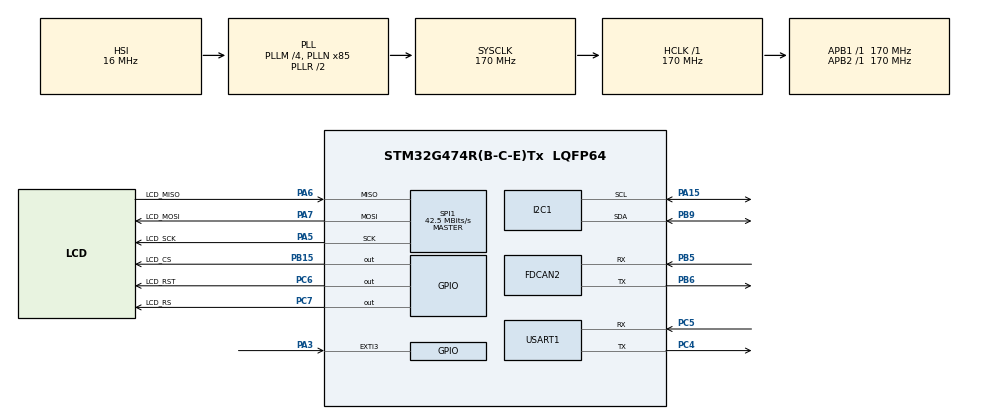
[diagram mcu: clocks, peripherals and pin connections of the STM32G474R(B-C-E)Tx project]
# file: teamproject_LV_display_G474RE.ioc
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Dma.Request0=USART1_RX
Dma.Request1=USART1_TX
Dma.Request2=SPI1_TX
Dma.SPI1_TX.2.Direction=DMA_MEMORY_TO_PERIPH
Dma.SPI1_TX.2.EventEnable=DISABLE
Dma.SPI1_TX.2.Instance=DMA1_Channel3
Dma.SPI1_TX.2.MemDataAlignment=DMA_MDATAALIGN_BYTE
Dma.SPI1_TX.2.MemInc=DMA_MINC_ENABLE
Dma.SPI1_TX.2.Mode=DMA_NORMAL
Dma.SPI1_TX.2.PeriphDataAlignment=DMA_PDATAALIGN_BYTE
Dma.SPI1_TX.2.PeriphInc=DMA_PINC_DISABLE
Dma.SPI1_TX.2.Polarity=HAL_DMAMUX_REQ_GEN_RISING
Dma.SPI1_TX.2.Priority=DMA_PRIORITY_HIGH
Dma.SPI1_TX.2.RequestNumber=1
Dma.SPI1_TX.2.SignalID=NONE
Dma.SPI1_TX.2.SyncEnable=DISABLE
Dma.SPI1_TX.2.SyncPolarity=HAL_DMAMUX_SYNC_NO_EVENT
Dma.SPI1_TX.2.SyncRequestNumber=1
Dma.SPI1_TX.2.SyncSignalID=NONE
Dma.USART1_RX.0.Direction=DMA_PERIPH_TO_MEMORY
Dma.USART1_RX.0.EventEnable=DISABLE
Dma.USART1_RX.0.Instance=DMA1_Channel1
Dma.USART1_RX.0.MemDataAlignment=DMA_MDATAALIGN_BYTE
Dma.USART1_RX.0.MemInc=DMA_MINC_ENABLE
Dma.USART1_RX.0.Mode=DMA_CIRCULAR
Dma.USART1_RX.0.PeriphDataAlignment=DMA_PDATAALIGN_BYTE
Dma.USART1_RX.0.PeriphInc=DMA_PINC_DISABLE
Dma.USART1_RX.0.Polarity=HAL_DMAMUX_REQ_GEN_RISING
Dma.USART1_RX.0.Priority=DMA_PRIORITY_VERY_HIGH
Dma.USART1_RX.0.RequestNumber=1
Dma.USART1_RX.0.SignalID=NONE
Dma.USART1_RX.0.SyncEnable=DISABLE
Dma.USART1_RX.0.SyncPolarity=HAL_DMAMUX_SYNC_NO_EVENT
Dma.USART1_RX.0.SyncRequestNumber=1
Dma.USART1_RX.0.SyncSignalID=NONE
Dma.USART1_TX.1.Direction=DMA_MEMORY_TO_PERIPH
Dma.USART1_TX.1.EventEnable=DISABLE
Dma.USART1_TX.1.Instance=DMA1_Channel2
Dma.USART1_TX.1.MemDataAlignment=DMA_MDATAALIGN_BYTE
Dma.USART1_TX.1.MemInc=DMA_MINC_ENABLE
Dma.USART1_TX.1.Mode=DMA_NORMAL
Dma.USART1_TX.1.PeriphDataAlignment=DMA_PDATAALIGN_BYTE
Dma.USART1_TX.1.PeriphInc=DMA_PINC_DISABLE
Dma.USART1_TX.1.Polarity=HAL_DMAMUX_REQ_GEN_RISING
Dma.USART1_TX.1.Priority=DMA_PRIORITY_VERY_HIGH
Dma.USART1_TX.1.RequestNumber=1
Dma.USART1_TX.1.SignalID=NONE
Dma.USART1_TX.1.SyncEnable=DISABLE
Dma.USART1_TX.1.SyncPolarity=HAL_DMAMUX_SYNC_NO_EVENT
Dma.USART1_TX.1.SyncRequestNumber=1
Dma.USART1_TX.1.SyncSignalID=NONE
FDCAN2.AutoRetransmission=ENABLE
FDCAN2.CalculateBaudRateNominal=500000
FDCAN2.CalculateTimeBitNominal=2000
FDCAN2.CalculateTimeQuantumNominal=100.0
FDCAN2.ExtFiltersNbr=1
FDCAN2.NominalPrescaler=17
FDCAN2.NominalTimeSeg1=15
FDCAN2.NominalTimeSeg2=4
I2C1.Timing=0x40B285C2
Mcu.Family=STM32G4
Mcu.Name=STM32G474R(B-C-E)Tx
Mcu.Package=LQFP64
NVIC.DMA1_Channel1_IRQn=true\:0\:0\:false\:false\:true\:false\:true\:true
NVIC.DMA1_Channel2_IRQn=true\:0\:0\:false\:false\:true\:false\:true\:true
NVIC.DMA1_Channel3_IRQn=true\:0\:0\:false\:false\:true\:false\:true\:true
NVIC.EXTI3_IRQn=true\:0\:0\:false\:false\:true\:true\:true\:true
NVIC.FDCAN2_IT0_IRQn=true\:0\:0\:false\:false\:true\:true\:true\:true
NVIC.FDCAN2_IT1_IRQn=true\:0\:0\:false\:false\:true\:true\:true\:true
NVIC.PriorityGroup=NVIC_PRIORITYGROUP_4
NVIC.SPI1_IRQn=true\:0\:0\:false\:false\:true\:true\:true\:true
NVIC.USART1_IRQn=true\:0\:0\:false\:false\:true\:true\:true\:true
PA13.Mode=Serial_Wire
PA13.Signal=SYS_JTMS-SWDIO
PA14.Mode=Serial_Wire
PA14.Signal=SYS_JTCK-SWCLK
PA15.GPIO_Speed=GPIO_SPEED_FREQ_VERY_HIGH
PA15.Mode=I2C
PA15.Signal=I2C1_SCL
PA3.GPIO_ModeDefaultEXTI=GPIO_MODE_IT_FALLING
PA3.GPIO_PuPd=GPIO_NOPULL
PA3.Signal=GPXTI3
PA5.GPIO_Label=LCD_SCK
PA5.GPIO_Speed=GPIO_SPEED_FREQ_VERY_HIGH
PA5.Mode=Full_Duplex_Master
PA5.Signal=SPI1_SCK
PA5.TagName=LD2
PA6.GPIO_Label=LCD_MISO
PA6.GPIO_Speed=GPIO_SPEED_FREQ_VERY_HIGH
PA6.Mode=Full_Duplex_Master
PA6.Signal=SPI1_MISO
PA7.GPIO_Label=LCD_MOSI
PA7.GPIO_Speed=GPIO_SPEED_FREQ_VERY_HIGH
PA7.Mode=Full_Duplex_Master
PA7.Signal=SPI1_MOSI
PB15.GPIO_Label=LCD_CS
PB15.GPIO_Speed=GPIO_SPEED_FREQ_VERY_HIGH
PB15.PinState=GPIO_PIN_SET
PB15.Signal=GPIO_Output
PB5.GPIO_Speed=GPIO_SPEED_FREQ_VERY_HIGH
PB5.Mode=FDCAN_Activate
PB5.Signal=FDCAN2_RX
PB6.GPIO_Speed=GPIO_SPEED_FREQ_VERY_HIGH
PB6.Mode=FDCAN_Activate
PB6.Signal=FDCAN2_TX
PB9.GPIO_Speed=GPIO_SPEED_FREQ_VERY_HIGH
PB9.Mode=I2C
PB9.Signal=I2C1_SDA
PC4.GPIO_PuPd=GPIO_PULLUP
PC4.GPIO_Speed=GPIO_SPEED_FREQ_VERY_HIGH
PC4.Mode=Asynchronous
PC4.Signal=USART1_TX
PC5.GPIO_PuPd=GPIO_PULLUP
PC5.GPIO_Speed=GPIO_SPEED_FREQ_VERY_HIGH
PC5.Mode=Asynchronous
PC5.Signal=USART1_RX
PC6.GPIO_Label=LCD_RST
PC6.PinState=GPIO_PIN_SET
PC6.Signal=GPIO_Output
PC7.GPIO_Label=LCD_RS
PC7.GPIO_Speed=GPIO_SPEED_FREQ_VERY_HIGH
PC7.Signal=GPIO_Output
ProjectManager.HeapSize=0x200
ProjectManager.StackSize=0x400
ProjectManager.TargetToolchain=STM32CubeIDE
RCC.ADC12Freq_Value=170000000
RCC.ADC345Freq_Value=170000000
RCC.AHBFreq_Value=170000000
RCC.APB1Freq_Value=170000000
RCC.APB1TimFreq_Value=170000000
RCC.APB2Freq_Value=170000000
RCC.APB2TimFreq_Value=170000000
RCC.CortexFreq_Value=170000000
RCC.EXTERNAL_CLOCK_VALUE=12288000
RCC.HCLKFreq_Value=170000000
RCC.HSE_VALUE=24000000
RCC.HSI48_VALUE=48000000
RCC.HSI_VALUE=16000000
RCC.LSE_VALUE=32768
RCC.PLLM=RCC_PLLM_DIV4
RCC.PLLN=85
RCC.RTCClockSelection=RCC_RTCCLKSOURCE_LSE
RCC.SYSCLKFreq_VALUE=170000000
RCC.SYSCLKSource=RCC_SYSCLKSOURCE_PLLCLK
RCC.USBFreq_Value=170000000
RCC.VCOOutputFreq_Value=340000000
SPI1.BaudRatePrescaler=SPI_BAUDRATEPRESCALER_4
SPI1.CalculateBaudRate=42.5 MBits/s
SPI1.DataSize=SPI_DATASIZE_8BIT
SPI1.Direction=SPI_DIRECTION_2LINES
SPI1.Mode=SPI_MODE_MASTER
SPI1.VirtualType=VM_MASTER
USART1.VirtualMode-Asynchronous=VM_ASYNC
VP_SYS_VS_DBSignals.Mode=DisableDeadBatterySignals
board=NUCLEO-G474RE

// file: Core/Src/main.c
/* USER CODE BEGIN Header */
/**
  ******************************************************************************
  * @file           : main.c
  * @brief          : Main program body
  ******************************************************************************
  * @attention
  *
  * Copyright (c) 2026 STMicroelectronics.
  * All rights reserved.
  *
  * This software is licensed under terms that can be found in the LICENSE file
  * in the root directory of this software component.
  * If no LICENSE file comes with this software, it is provided AS-IS.
  *
  ******************************************************************************
  */
/* USER CODE END Header */
#include "main.h"
#include "dma.h"
#include "fdcan.h"
#include "i2c.h"
#include "spi.h"
#include "usart.h"
#include "gpio.h"

/* USER CODE BEGIN Includes */

#include "bmp.h"
#include "ili9488.h"
#include "gt911.h"
#include "gt911_port.h"
#include "lcd_io_spi_hal.h"
#include "lcd.h"

#include "lvgl.h"
#include "ui.h"

#include "charger_uart.h"

#include "ui/vars.h"
#include <math.h>
#include <stdio.h>
#include <string.h>
#include <stdint.h>

extern void LCD_IO_Init(void);

/* USER CODE END Includes */

/* USER CODE BEGIN PTD */

typedef enum
{
	CHARGER_IDLE,
	CHARGER_IDLE_BATT,
    CHARGER_PRECHARGE,
    CHARGER_ACTIVE,
	CHARGER_DISCHARGE,
    CHARGER_ERROR,
	CHARGER_STATE_TOTAL
} charger_state_t; // Charger states: Idle (battery not connected), Idle (battery connected), Pre-Charge, Charging, Fault

typedef struct {
    uint16_t id;
    uint8_t dlc;
    uint8_t data[8];
} can_msg_t; // UNUSED: for future CAN TX development

/* USER CODE END PTD */

/* USER CODE BEGIN PD */

#define RESOLUTION_HORIZONTAL 480
#define RESOLUTION_VERTICAL 320
#define BYTES_PER_PIXEL 2

#define BUTTON_DEBOUNCE_PERIOD 750 // 2.5 second debounce for start/stop button

// Error code definitions for bitmask
typedef enum {
    ERR_UART_TIMEOUT    = 0x0001,
    ERR_LV_FAULT        = 0x0002,
    ERR_VIN_UV          = 0x0004,
    ERR_VIN_OV          = 0x0008,
    ERR_VOUT_OV         = 0x0010,
    ERR_IOUT_OC         = 0x0020,
    ERR_POUT_OP         = 0x0040,
    ERR_TEMP_OT         = 0x0080,
    ERR_VBAT_REVERSE    = 0x0100,
    ERR_VBAT_OV         = 0x0200,
} charger_err_codes;

// CAN TX IDs
#define CAN_ID_TELEM_1      0x01000000
#define CAN_ID_TELEM_2      0x02000000
#define CAN_ID_STATUS       0x01100000

// CAN RX ID
#define CAN_ID_RX_CCCV      0x00FFFFFF
#define CAN_ID_RX_FAULT     0x001FFFFF
#define CAN_ID_DISCHARGE_RX 0x00000001

// Debug screen text update
#define OK_TEXT    "#00FF00 OK#"
#define FAIL_TEXT "#FF0000 FAIL#"

// For updating CV/CC labels from CAN
#define V_MIN 200.0f
#define V_MAX 600.0f
#define I_MIN 0.0f

/* USER CODE END PD */

/* USER CODE BEGIN PV */

static volatile charger_state_t charger_state = CHARGER_IDLE; // Initialize charger state at IDLE and not connected to battery
static volatile charger_state_t previous_charger_state = CHARGER_STATE_TOTAL; // Store previous state to track state transitions

static volatile uint16_t charger_errorCode = 0x0000; // Initialise charger with no debug errors
static volatile uint8_t uart_counter = 0; // Updates every 100 ms, if nothing then UART fail
static volatile uint8_t can_counter = 0; // Updates every 100 ms, if nothing then CAN fail

static lv_display_t * active_lv_display = NULL; // for SPI DMA screen flush callback

static GT911_Object_t gt911; // GT911 touch screen controller

// Variables for storing target voltage/ current and error received via CAN
static volatile float target_v = 0.0f;
static volatile float target_i = 0.0f;
static volatile uint16_t BMS_error_code = 0x0000;
volatile uint8_t can_setpoint_update_pending = 0; // In order to not update labels inside CAN RX ISR

// For queueing CAN tx
static volatile uint8_t can_tx_telemetry_pending = 0;

// Charts and variables for storing voltage/ current measurements received via UART
static lv_chart_series_t * s_o_v = NULL; // output voltage chart
static lv_chart_series_t * s_o_i = NULL; // output current chart
static lv_chart_series_t * s_o_p = NULL; // output power chart

static lv_chart_series_t * s_b_v = NULL; // battery voltage chart

static lv_chart_series_t * s_p_v = NULL; // PFC voltage chart

static lv_chart_series_t * s_t_1 = NULL; // temperature 1 chart
static lv_chart_series_t * s_t_2 = NULL; // temperature 2 chart
static lv_chart_series_t * s_t_3 = NULL; // temperature 3 chart

static volatile float OutputVoltage = 0.0f; // output voltage
static volatile float OutputCurrent = 0.0f; // output current
static volatile float OutputPower = 0.0f; // output power
static volatile float BatteryVoltage = 0.0f; // battery voltage
static volatile float PFCVoltage = 0.0f; // PFC voltage
static volatile float temp[3] = {0.0f}; // temperature 1, 2, 3

static lv_timer_t * charts_timer = NULL; // chart exclusive timer
static lv_timer_t * status_timer = NULL;
static lv_timer_t * uart_timer = NULL;
static lv_timer_t * can_timer = NULL;

volatile uint8_t buttonPressed = 0; // button detection
volatile uint32_t lastButtonInterrupt = 0; // button debounce

/* USER CODE END PV */

void SystemClock_Config(void);
/* USER CODE BEGIN PFP */

// === Display update and touch screen ===
void my_flush_cb(lv_display_t * display, const lv_area_t * area, uint8_t * px_map);
void touch_read(lv_indev_t * indev, lv_indev_data_t * data);
void LCD_IO_DmaTxCpltCallback(SPI_HandleTypeDef *hspi);

// === Live menu updates ===
const char * get_var_voltage_text(float v);
const char * get_var_current_text(float i);
const char * get_var_power_text(float p);
const char * get_var_temperature_text(float t);
static void increment_uart_timer(lv_timer_t * t);
static void increment_can_timer(lv_timer_t * t);
static void update_error_labels(uint16_t errorCode);
extern const char * get_var_constant_voltage_setpoint_text(void);
extern const char * get_var_constant_current_setpoint_text(void);

// === CAN message RX, parsing and processing ===
void HAL_FDCAN_RxFifo0Callback(FDCAN_HandleTypeDef *hfdcan, uint32_t RxFifo0ITs);
static void log_can_data(uint8_t *data);
static void log_can_fault(uint8_t *data);
static void update_setpoints_from_can(float voltage, float current);
extern float clamp_float(float x, float lo, float hi);
extern int32_t voltage_to_bar(int32_t v, int32_t MIN, int32_t MAX);
extern float current_to_bar(float i, float MIN, float MAX);
extern float get_current_max_for_voltage(float voltage);

// === CAN TX for debugging ===
static void can_pack_floattoint16(uint8_t *data, uint8_t byte_index, float value, float scale);
static HAL_StatusTypeDef can_tx_ext(uint32_t id, uint8_t data[8]);
static void can_tx_charger_telemetry(void);

// === UART data plotting ===
static void charts_init(void);
static void charts_feed_cb(lv_timer_t * t);
void start_charts(void);

// === Button detection and debounce ===
void HAL_GPIO_EXTI_Callback(uint16_t GPIO_Pin);

// === Status/ fault update to HV ===
static void LV_status_share(lv_timer_t * t);

/* USER CODE END PFP */

int main(void)
{

  /* MCU Configuration--------------------------------------------------------*/

  /* Reset of all peripherals, Initializes the Flash interface and the Systick. */
  HAL_Init();

  /* Configure the system clock */
  SystemClock_Config();

  /* Initialize all configured peripherals */
  MX_GPIO_Init();
  MX_DMA_Init();
  MX_SPI1_Init();
  MX_USART1_UART_Init();
  MX_FDCAN2_Init();
  MX_I2C1_Init();
  /* USER CODE BEGIN 2 */

  /* LCD initialization */

  ili9488_Init();
  ili9488_DisplayOn();

  /* Touch initialization */

  GT911_IO_t io =
  {
      .Init     = GT911_IO_Init,
      .DeInit   = GT911_IO_DeInit,
      .Address  = GT911_I2C_ADDR,
      .WriteReg = GT911_IO_WriteReg,
      .ReadReg  = GT911_IO_ReadReg,
      .GetTick  = GT911_IO_GetTick
  };

  GT911_RegisterBusIO(&gt911, &io);
  GT911_Init(&gt911);

  /* LVGL initialization */
  lv_init();

  lv_tick_set_cb(HAL_GetTick);

  /* LVGL display initialization */
  lv_display_t * display = lv_display_create(RESOLUTION_HORIZONTAL, RESOLUTION_VERTICAL);

  /* LVGL will render to two 1/16
   *  screen sized buffers for 2 bytes/pixel */
  /* One buffer flushes via DMA while the other renders in parallel */
  static uint8_t buf1[RESOLUTION_HORIZONTAL * RESOLUTION_VERTICAL / 20 * BYTES_PER_PIXEL];
  static uint8_t buf2[RESOLUTION_HORIZONTAL * RESOLUTION_VERTICAL / 20 * BYTES_PER_PIXEL];
  lv_display_set_buffers(display, buf1, buf2, sizeof(buf1), LV_DISPLAY_RENDER_MODE_PARTIAL);

  /* Displays rendered image */
  lv_display_set_flush_cb(display, my_flush_cb);

  /* LVGL pointer (touch) initialization */
  lv_indev_t * indev = lv_indev_create();
  lv_indev_set_type(indev, LV_INDEV_TYPE_POINTER);
  lv_indev_set_read_cb(indev, touch_read);

  /* EEZ Studio UI initialization */
  ui_init();

  /* UART initalization */
  uart_init();

  /* Chart initialization */
  start_charts();

  /* Timers initalization */
  status_timer = lv_timer_create(LV_status_share, 100, NULL);
  uart_timer   = lv_timer_create(increment_uart_timer, 100, NULL);
  can_timer    = lv_timer_create(increment_can_timer, 100, NULL);

  /* CAN initialization */
  // 1) Configure filter: accept ALL extended IDs into RX FIFO0
  FDCAN_FilterTypeDef sFilter;
  sFilter.IdType = FDCAN_EXTENDED_ID;
  sFilter.FilterIndex = 0;
  sFilter.FilterType = FDCAN_FILTER_MASK;
  sFilter.FilterConfig = FDCAN_FILTER_TO_RXFIFO0;
  sFilter.FilterID1 = 0x00000000;
  sFilter.FilterID2 = 0x00000000;
  if(HAL_FDCAN_ConfigFilter(&hfdcan2, &sFilter) != HAL_OK)
  {
      Error_Handler();
  }

  // 2) Global filter: reject non-matching frames
  HAL_FDCAN_ConfigGlobalFilter(&hfdcan2,
                               FDCAN_REJECT,
                               FDCAN_REJECT,
                               FDCAN_REJECT_REMOTE,
                               FDCAN_REJECT_REMOTE);

  // 3) Start FDCAN
  HAL_FDCAN_Start(&hfdcan2);

  // 4) Enable RX FIFO0 new message interrupt
  HAL_FDCAN_ActivateNotification(&hfdcan2,
                                 FDCAN_IT_RX_FIFO0_NEW_MESSAGE,
                                 0);

  /* USER CODE END 2 */

  /* Infinite loop */
  /* USER CODE BEGIN WHILE */
  while (1)
  {
	  if (buttonPressed)
	  {
	      buttonPressed = 0;
		  printfDma("\\V %3.0f\n", get_var_constant_voltage_setpoint());
		  printfDma("\\C %3.2f\n", get_var_constant_current_setpoint());
		  printfDma("\\S\n");
	  }

	  /* Update debug screen */
      update_error_labels(charger_errorCode);

      if(can_setpoint_update_pending)
      {
          can_setpoint_update_pending = 0;
          update_setpoints_from_can(target_v, target_i);
      }

      if (can_tx_telemetry_pending)
      {
          can_tx_telemetry_pending = 0;
          can_tx_charger_telemetry();
      }

      if (uart_counter > 10)
      {
          charger_state = CHARGER_ERROR;
      }

      if (charger_state != previous_charger_state)
      {
          previous_charger_state = charger_state;

          if (lv_screen_active() != objects.main_menu) // Return to main menu on state change to notify user
          {
              lv_screen_load(objects.main_menu);
          }
      }

	  switch(charger_state) // Charger state machine
	  {
	      case CHARGER_IDLE:

	    	  // Status widget
	          lv_label_set_text(objects.status_label,
	                            "IDLE");
	          lv_label_set_text(objects.detailed_status_label,
								"Battery not connected");
	          lv_obj_set_style_bg_color(objects.status_container,
	                                    lv_color_hex(0x464646),
	                                    0);

	          // Parameters widget (unlocked)
	          lv_label_set_text(objects.parameters_label,
								"Parameters");

	          // Bottom left stats widget
	          lv_label_set_text(objects.bottom_left_stat_desc,
								"Battery Voltage");
	          lv_label_set_text(objects.main_menu_voltage_label,
								get_var_voltage_text(BatteryVoltage));
	          lv_label_set_text(objects.main_menu_current_label,
								"");

	          // Set parameters button (unlocked)
	          lv_obj_remove_state(objects.set_parameters_button, LV_STATE_DISABLED);
	          lv_label_set_text(objects.set_parameters_label,
	                            "Set\nParameters");

	          break;

	      case CHARGER_IDLE_BATT:

	    	  // Status widget
	      	  lv_label_set_text(objects.status_label,
								"IDLE");
	      	  lv_label_set_text(objects.detailed_status_label,
								"Battery connected");
	      	  lv_obj_set_style_bg_color(objects.status_container,
										lv_color_hex(0x464646),
										0);

	      	  // Parameters widget (unlocked)
	      	  lv_label_set_text(objects.parameters_label,
								"Parameters");

	      	  // Bottom left stats widget
	      	  lv_label_set_text(objects.bottom_left_stat_desc,
								"Battery Voltage");
	      	  lv_label_set_text(objects.main_menu_voltage_label,
								get_var_voltage_text(BatteryVoltage));
			  lv_label_set_text(objects.main_menu_current_label,
								"");

	      	  // Set parameters button (unlocked)
	      	  lv_obj_remove_state(objects.set_parameters_button, LV_STATE_DISABLED);
	      	  lv_label_set_text(objects.set_parameters_label,
								"Set\nParameters");

			  break;

	      case CHARGER_PRECHARGE:

	    	  // Status widget
	          lv_label_set_text(objects.status_label,
	                            "PRE-CHARGE");
	          lv_label_set_text(objects.detailed_status_label,
								"Battery connected");
	          lv_obj_set_style_bg_color(objects.status_container,
	                                    lv_color_hex(0xFF8C00),
	                                    0);

	          // Parameters widget (locked)
	          lv_label_set_text(objects.parameters_label,
								"Parameters\n(locked)");

	          // Bottom left stats widget
	          lv_label_set_text(objects.bottom_left_stat_desc,
								"Battery Voltage");
	          lv_label_set_text(objects.main_menu_voltage_label,
								get_var_voltage_text(BatteryVoltage));
			  lv_label_set_text(objects.main_menu_current_label,
								"");

	          // Set parameters button (locked)
			  lv_obj_add_state(objects.set_parameters_button, LV_STATE_DISABLED);
			  lv_label_set_text(objects.set_parameters_label,
								"Parameters\nlocked");

	          break;

	      case CHARGER_ACTIVE:

	    	  // Status widget
	          lv_label_set_text(objects.status_label,
	                            "CHARGING");
	          lv_label_set_text(objects.detailed_status_label,
								"Battery connected");
	          lv_obj_set_style_bg_color(objects.status_container,
	                                    lv_color_hex(0x008000),
	                                    0);

	          // Parameters widget (locked)
	          lv_label_set_text(objects.parameters_label,
								"Parameters\n(locked)");

	          // Bottom left stats widget
	          lv_label_set_text(objects.bottom_left_stat_desc,
								"Output");
	          lv_label_set_text(objects.main_menu_voltage_label,
								get_var_voltage_text(OutputVoltage));
			  lv_label_set_text(objects.main_menu_current_label,
					  	  	  	get_var_current_text(OutputCurrent));

	          // Set parameters button (locked)
			  lv_obj_add_state(objects.set_parameters_button, LV_STATE_DISABLED);
			  lv_label_set_text(objects.set_parameters_label,
								"Parameters\nlocked");

	          break;

	      case CHARGER_DISCHARGE:
	    	  // Status widget
	          lv_label_set_text(objects.status_label,
	                            "DISCHARGING");
	          lv_label_set_text(objects.detailed_status_label,
								"");
	          lv_obj_set_style_bg_color(objects.status_container,
	                                    lv_color_hex(0x464646),
	                                    0);

	    	  break;

	      case CHARGER_ERROR:

	    	  // Status widget
	          lv_label_set_text(objects.status_label,
	                            "FAULT");
	          if (uart_counter > 10){
	              lv_label_set_text(objects.detailed_status_label,
	                                "UART RX timeout");
	          } else if (BMS_error_code != 0x0000){
	              lv_label_set_text(objects.detailed_status_label,
	                                "Shutdown circuit opened");
	          } else {
	              lv_label_set_text(objects.detailed_status_label,
                                    "Charger fault");
	          }

	          lv_obj_set_style_bg_color(objects.status_container,
	                                    lv_color_hex(0xB40000),
	                                    0);

	          // Parameters widget (locked)
	          lv_label_set_text(objects.parameters_label,
								"Parameters\n(locked)");

	          // Bottom left stats widget
	          lv_label_set_text(objects.bottom_left_stat_desc,
								"Output");
	          lv_label_set_text(objects.main_menu_voltage_label,
								"N/A");
			  lv_label_set_text(objects.main_menu_current_label,
								"");

	          // Set parameters button (locked)
			  lv_obj_add_state(objects.set_parameters_button, LV_STATE_DISABLED);
			  lv_label_set_text(objects.set_parameters_label,
								"Parameters\nlocked");

			  break;

	      	default:
	      	  break;

	  }

	  /* Provide updates to currently-displayed Widgets here. */
	  lv_timer_handler();
	  HAL_Delay(2);  /* Wait 2 ms before processing LVGL again */

	  /* Note that UART baud rate is 115200 bits per second, or 86.806 us per byte. */

    /* USER CODE END WHILE */

  }
}

void SystemClock_Config(void)
{
  RCC_OscInitTypeDef RCC_OscInitStruct = {0};
  RCC_ClkInitTypeDef RCC_ClkInitStruct = {0};

  /** Configure the main internal regulator output voltage
  */
  HAL_PWREx_ControlVoltageScaling(PWR_REGULATOR_VOLTAGE_SCALE1_BOOST);

  /** Initializes the RCC Oscillators according to the specified parameters
  * in the RCC_OscInitTypeDef structure.
  */
  RCC_OscInitStruct.OscillatorType = RCC_OSCILLATORTYPE_HSI;
  RCC_OscInitStruct.HSIState = RCC_HSI_ON;
  RCC_OscInitStruct.HSICalibrationValue = RCC_HSICALIBRATION_DEFAULT;
  RCC_OscInitStruct.PLL.PLLState = RCC_PLL_ON;
  RCC_OscInitStruct.PLL.PLLSource = RCC_PLLSOURCE_HSI;
  RCC_OscInitStruct.PLL.PLLM = RCC_PLLM_DIV4;
  RCC_OscInitStruct.PLL.PLLN = 85;
  RCC_OscInitStruct.PLL.PLLP = RCC_PLLP_DIV2;
  RCC_OscInitStruct.PLL.PLLQ = RCC_PLLQ_DIV2;
  RCC_OscInitStruct.PLL.PLLR = RCC_PLLR_DIV2;
  if (HAL_RCC_OscConfig(&RCC_OscInitStruct) != HAL_OK)
  {
    Error_Handler();
  }

  /** Initializes the CPU, AHB and APB buses clocks
  */
  RCC_ClkInitStruct.ClockType = RCC_CLOCKTYPE_HCLK|RCC_CLOCKTYPE_SYSCLK
                              |RCC_CLOCKTYPE_PCLK1|RCC_CLOCKTYPE_PCLK2;
  RCC_ClkInitStruct.SYSCLKSource = RCC_SYSCLKSOURCE_PLLCLK;
  RCC_ClkInitStruct.AHBCLKDivider = RCC_SYSCLK_DIV1;
  RCC_ClkInitStruct.APB1CLKDivider = RCC_HCLK_DIV1;
  RCC_ClkInitStruct.APB2CLKDivider = RCC_HCLK_DIV1;

  if (HAL_RCC_ClockConfig(&RCC_ClkInitStruct, FLASH_LATENCY_4) != HAL_OK)
  {
    Error_Handler();
  }
}

/* USER CODE BEGIN 4 */

// === Display update and touch screen ===

void my_flush_cb(lv_display_t * display, const lv_area_t * area, uint8_t * px_map)
{
    uint16_t w = area->x2 - area->x1 + 1;
    uint16_t h = area->y2 - area->y1 + 1;

    active_lv_display = display;

    ili9488_DrawRGBImage(area->x1, area->y1, w, h, (uint16_t *)px_map); // Use DMA to flush pixels from buffer to display

    if(!LCD_IO_DmaBusy()) {
        lv_display_flush_ready(display);
        active_lv_display = NULL;
    }
}

void LCD_IO_DmaTxCpltCallback(SPI_HandleTypeDef *hspi)
{
    if(active_lv_display) {
        lv_display_flush_ready(active_lv_display);
        active_lv_display = NULL;
    }
}

void touch_read(lv_indev_t * indev, lv_indev_data_t * data)
{
    (void) indev;

    GT911_State_t st;

    if(GT911_GetState(&gt911, &st) != GT911_OK) {
        data->state = LV_INDEV_STATE_RELEASED;
        return;
    }

    if(st.TouchDetected) {

    	// Swap + mirror coordinates for LCD rotation

        uint32_t x = st.TouchY;
        uint32_t y = st.TouchX;
        x = (RESOLUTION_HORIZONTAL - 1) - x;          // mirror X

        data->point.x = (lv_coord_t)x;
        data->point.y = (lv_coord_t)y;
        data->state   = LV_INDEV_STATE_PRESSED;
    }
    else {
        data->state = LV_INDEV_STATE_RELEASED;
    }
}

// === Live menu updates ===

const char * get_var_voltage_text(float v) // Helper for displaying live voltage values
{
    static char buf[16];
    snprintf(buf,sizeof(buf),"%.1f V", v);
    return buf;
}

const char * get_var_current_text(float i) // Helper for displaying live current values
{
    static char buf[16];
    snprintf(buf,sizeof(buf),"%.3f A", i);
    return buf;
}

const char * get_var_power_text(float p) // Helper for displaying live power values in kW
{
    static char buf[16];
    snprintf(buf,sizeof(buf),"%.3f kW", p);
    return buf;
}

const char * get_var_temperature_text(float t) // Helper for displaying live temperature values
{
    static char buf[16];
    snprintf(buf,sizeof(buf),"%.1f °C", t);
    return buf;
}

static void increment_can_timer(lv_timer_t * t)
{
    (void)t;
    if(can_counter < 255)
        can_counter++;
}

static void increment_uart_timer(lv_timer_t * t)
{
    (void)t;
    if(uart_counter < 255)
        uart_counter++;
}

static void update_error_labels(uint16_t errorCode) // Helper for updating debug menu
{
    char hv_text[96];
    char overall_text[32];
    char input_text[32];
    char lv_text[32];

    snprintf(hv_text, sizeof(hv_text),
             "%s\n%s\n%s\n%s\n%s\n%s",
             (errorCode & ERR_UART_TIMEOUT) ? FAIL_TEXT : OK_TEXT,
             (errorCode & ERR_VOUT_OV) ? FAIL_TEXT : OK_TEXT,
             (errorCode & ERR_IOUT_OC)   ? FAIL_TEXT : OK_TEXT,
             (errorCode & ERR_POUT_OP)   ? FAIL_TEXT : OK_TEXT,
             (errorCode & ERR_VBAT_REVERSE)   ? FAIL_TEXT : OK_TEXT,
             (errorCode & ERR_VBAT_OV)   ? FAIL_TEXT : OK_TEXT);

    snprintf(overall_text, sizeof(overall_text),
             "%s\n%s",
             (errorCode & ERR_TEMP_OT) ? FAIL_TEXT : OK_TEXT,
             (errorCode & ERR_LV_FAULT) ? FAIL_TEXT : OK_TEXT);

    snprintf(input_text, sizeof(input_text),
             "%s\n%s",
             (errorCode & ERR_VIN_UV) ? FAIL_TEXT : OK_TEXT,
             (errorCode & ERR_VIN_OV) ? FAIL_TEXT : OK_TEXT);

    snprintf(lv_text, sizeof(lv_text),
            "%s\n%s",
            (uart_counter > 10) ? FAIL_TEXT : OK_TEXT,
            (can_counter > 10)  ? FAIL_TEXT : OK_TEXT);

    lv_label_set_recolor(objects.hv_states, true);
    lv_label_set_recolor(objects.overall_states, true);
    lv_label_set_recolor(objects.input_states, true);
    lv_label_set_recolor(objects.lv_states, true);

    lv_label_set_text(objects.hv_states, hv_text);
    lv_label_set_text(objects.overall_states, overall_text);
    lv_label_set_text(objects.input_states, input_text);
    lv_label_set_text(objects.lv_states, lv_text);
}

// === CAN message RX, parsing and processing ===

void HAL_FDCAN_RxFifo0Callback(FDCAN_HandleTypeDef *hfdcan,
                               uint32_t RxFifo0ITs)
{
    if ((RxFifo0ITs & FDCAN_IT_RX_FIFO0_NEW_MESSAGE) != 0)
    {
        FDCAN_RxHeaderTypeDef RxHeader;
        uint8_t RxData[8];

        HAL_FDCAN_GetRxMessage(hfdcan,
                               FDCAN_RX_FIFO0,
                               &RxHeader,
                               RxData);

        // Check if message uses extended ID
        if (RxHeader.IdType == FDCAN_EXTENDED_ID)
        {
            if (RxHeader.Identifier == CAN_ID_RX_CCCV)
            {
            	log_can_data(RxData);
            	can_setpoint_update_pending = 1; // set flag for changing setpoint on next loop
            }
            if (RxHeader.Identifier == CAN_ID_RX_FAULT)
            {
            	log_can_fault(RxData);
                can_counter = 0; // Only this periodic BMS status message is required for CAN OK
            }
            if (RxHeader.Identifier == CAN_ID_DISCHARGE_RX)
            {
                printfDma("\\D\n");
            }
        }
    }
}

static void log_can_data(uint8_t *data)
{
    uint32_t voltage_raw = 0;
    uint32_t current_raw = 0;

    // Bytes 0-2: CV setpoint, unsigned 24-bit integer
    voltage_raw =
        ((uint32_t)data[0])       |
        ((uint32_t)data[1] << 8)  |
        ((uint32_t)data[2] << 16);

    // Bytes 3-5: CC setpoint, unsigned 24-bit integer
    current_raw =
        ((uint32_t)data[3])       |
        ((uint32_t)data[4] << 8)  |
        ((uint32_t)data[5] << 16);

    // DBC scaling:
    // CV factor = 0.0001 V/bit
    // CC factor = 0.00001 A/bit
    target_v = (float)voltage_raw * 0.0001f;
    target_i = (float)current_raw * 0.000001f;
}

static void log_can_fault(uint8_t *data)
{
    // Bytes 0-2: BMS status / error code
    BMS_error_code =
        ((uint32_t)data[0])       |
        ((uint32_t)data[1] << 8)  |
        ((uint32_t)data[2] << 16);
}

void update_setpoints_from_can(float voltage, float current) {

    // Reduce precision first
    voltage = roundf(voltage * 10.0f) / 10.0f;        // xxx.x
    current = roundf(current * 1000.0f) / 1000.0f;    // x.xxx

    // Clamp voltage before setting
    voltage = clamp_float(voltage, V_MIN, V_MAX);

    set_var_constant_voltage_setpoint(voltage);

    // Update voltage labels
    lv_label_set_text(objects.constant_voltage_setpoint_label,
                      get_var_constant_voltage_setpoint_text());
    lv_label_set_text(objects.main_menu_cv_label,
                      get_var_constant_voltage_setpoint_text());
    lv_label_set_text(objects.constant_voltage_setpoint_label_1,
                      get_var_constant_voltage_setpoint_text());

    // Update voltage bars
    lv_bar_set_value(objects.constant_voltage_setpoint_bar,
                     voltage_to_bar(voltage, V_MIN, V_MAX),
                     LV_ANIM_ON);
    lv_bar_set_value(objects.constant_voltage_setpoint_bar_1,
                     voltage_to_bar(voltage, V_MIN, V_MAX),
                     LV_ANIM_ON);

    // Current max may depend on voltage
    float I_MAX = get_current_max_for_voltage(voltage);

    // Clamp current before setting
    current = clamp_float(current, I_MIN, I_MAX);

    set_var_constant_current_setpoint(current);

    // Update current labels
    lv_label_set_text(objects.constant_current_setpoint_label,
                      get_var_constant_current_setpoint_text());
    lv_label_set_text(objects.main_menu_cc_label,
                      get_var_constant_current_setpoint_text());
    lv_label_set_text(objects.constant_current_setpoint_label_1,
                      get_var_constant_current_setpoint_text());

    // Update current bars
    lv_bar_set_value(objects.constant_current_setpoint_bar,
                     current_to_bar(current, I_MIN, I_MAX),
                     LV_ANIM_ON);
    lv_bar_set_value(objects.constant_current_setpoint_bar_1,
                     current_to_bar(current, I_MIN, I_MAX),
                     LV_ANIM_ON);
}

// === CAN tx for debugging ===

//static void can_pack_float(uint8_t *data, uint8_t byte_index, float value)
//{
//    memcpy(&data[byte_index], &value, sizeof(float));
//}

static void can_pack_floattoint16(uint8_t *data, uint8_t byte_index, float value, float scale)
{
    int16_t scaledval = value * scale;
    memcpy(&data[byte_index], &scaledval, 2);
}

static HAL_StatusTypeDef can_tx_ext(uint32_t id, uint8_t data[8])
{
    FDCAN_TxHeaderTypeDef txHeader = {0};

    txHeader.Identifier = id;
    txHeader.IdType = FDCAN_EXTENDED_ID;
    txHeader.TxFrameType = FDCAN_DATA_FRAME;
    txHeader.DataLength = FDCAN_DLC_BYTES_8;
    txHeader.ErrorStateIndicator = FDCAN_ESI_ACTIVE;
    txHeader.BitRateSwitch = FDCAN_BRS_OFF;
    txHeader.FDFormat = FDCAN_CLASSIC_CAN;
    txHeader.TxEventFifoControl = FDCAN_NO_TX_EVENTS;
    txHeader.MessageMarker = 0;

    return HAL_FDCAN_AddMessageToTxFifoQ(&hfdcan2, &txHeader, data);
}

static void can_tx_charger_telemetry(void)
{
    uint8_t data[8];

    memset(data, 0, sizeof(data));
    can_pack_floattoint16(data, 0, PFCVoltage, 10);
    can_pack_floattoint16(data, 2, OutputVoltage, 10);
    can_pack_floattoint16(data, 4, OutputCurrent, 10);
    can_pack_floattoint16(data, 6, BatteryVoltage, 10);
    can_tx_ext(CAN_ID_TELEM_1, data);

    memset(data, 0, sizeof(data));
    can_pack_floattoint16(data, 0, OutputPower, 1);
    can_pack_floattoint16(data, 2, temp[0], 10);
    can_pack_floattoint16(data, 4, temp[1], 10);
    can_pack_floattoint16(data, 6, temp[2], 10);
    can_tx_ext(CAN_ID_TELEM_2, data);

    memset(data, 0, sizeof(data));
    data[0] = (uint8_t)charger_state;
    data[1] = (uint8_t)(charger_errorCode & 0xFF);
    data[2] = (uint8_t)(charger_errorCode >> 8);
    data[3] = 0x00;
    can_tx_ext(CAN_ID_STATUS, data);
}

// === UART Initialization ===

void uart_parseRxFrame(uint8_t* buffer, uint32_t len)
{
    (void)len;

    uart_counter = 0;

    int state_tmp;
    unsigned int err_tmp;

    if (sscanf((char *)buffer,
               "VI:%7f, VO:%7f, IO:%7f, VB:%7f, PO:%9f, T1:%7f, T2:%7f, T3:%7f, ST:%1d, ER:%04x\n",
               &PFCVoltage,
               &OutputVoltage,
               &OutputCurrent,
               &BatteryVoltage,
               &OutputPower,
               &temp[0],
               &temp[1],
               &temp[2],
               &state_tmp,
               &err_tmp) == 10)
    {
        charger_state = (charger_state_t)state_tmp;
        charger_errorCode = (uint16_t)err_tmp;

        can_tx_telemetry_pending = 1; // queue CAN TX after message received
    }
}

// === UART data plotting ===

static void charts_init(void) // LVGL charts can only plot integers. Scaling used for decimals.
{
    // Output voltage chart
    lv_obj_t * c_o_v = objects.output_voltage_chart;
    lv_chart_set_point_count(c_o_v, 120); // last 120 samples on screen
    lv_chart_set_type(c_o_v, LV_CHART_TYPE_LINE);
    lv_chart_set_update_mode(c_o_v, LV_CHART_UPDATE_MODE_SHIFT); // scrolling chart
    lv_chart_set_axis_range(c_o_v, LV_CHART_AXIS_PRIMARY_Y, 0, 700*10); // volts (scaled by 10 for 1 d.p.)
    lv_obj_set_style_size(c_o_v, 0, 0, LV_PART_INDICATOR); // remove chart dot for pure line chart
    lv_chart_set_div_line_count(c_o_v, 6+2, 3+2); // Chart grid setting
    s_o_v = lv_chart_add_series(c_o_v, lv_palette_main(LV_PALETTE_BLUE), LV_CHART_AXIS_PRIMARY_Y);

    // Output current chart
    lv_obj_t * c_o_i = objects.output_current_chart;
    lv_chart_set_point_count(c_o_i, 120); // last 120 samples on screen
    lv_chart_set_type(c_o_i, LV_CHART_TYPE_LINE);
    lv_chart_set_update_mode(c_o_i, LV_CHART_UPDATE_MODE_SHIFT); // scrolling chart
    lv_chart_set_axis_range(c_o_i, LV_CHART_AXIS_PRIMARY_Y, 0, 10*1000); // amps (scaled by 1000 for 3 d.p.)
    lv_obj_set_style_size(c_o_i, 0, 0, LV_PART_INDICATOR); // remove chart dot for pure line chart
    lv_chart_set_div_line_count(c_o_i, 4+2, 3+2); // Chart grid setting
    s_o_i = lv_chart_add_series(c_o_i, lv_palette_main(LV_PALETTE_RED), LV_CHART_AXIS_PRIMARY_Y);

    // Output power chart
	lv_obj_t * c_o_p = objects.output_power_chart;
	lv_chart_set_point_count(c_o_p, 120); // last 120 samples on screen
	lv_chart_set_type(c_o_p, LV_CHART_TYPE_LINE);
	lv_chart_set_update_mode(c_o_p, LV_CHART_UPDATE_MODE_SHIFT); // scrolling chart
	lv_chart_set_axis_range(c_o_p, LV_CHART_AXIS_PRIMARY_Y, 0, 4*1000); // kilowatts (scaled by 1000 for 3 d.p.)
	lv_obj_set_style_size(c_o_p, 0, 0, LV_PART_INDICATOR); // remove chart dot for pure line chart
	lv_chart_set_div_line_count(c_o_p, 3+2, 3+2); // Chart grid setting
	s_o_p = lv_chart_add_series(c_o_p, lv_palette_main(LV_PALETTE_GREEN), LV_CHART_AXIS_PRIMARY_Y);

	// Battery voltage chart
	lv_obj_t * c_b_v = objects.battery_voltage_chart;
	lv_chart_set_point_count(c_b_v, 120); // last 120 samples on screen
	lv_chart_set_type(c_b_v, LV_CHART_TYPE_LINE);
	lv_chart_set_update_mode(c_b_v, LV_CHART_UPDATE_MODE_SHIFT); // scrolling chart
	lv_chart_set_axis_range(c_b_v, LV_CHART_AXIS_PRIMARY_Y, 0, 700*10); // volts (scaled by 10 for 1 d.p.)
	lv_obj_set_style_size(c_b_v, 0, 0, LV_PART_INDICATOR); // remove chart dot for pure line chart
	lv_chart_set_div_line_count(c_b_v, 6+2, 3+2); // Chart grid setting
	s_b_v = lv_chart_add_series(c_b_v, lv_palette_main(LV_PALETTE_BLUE), LV_CHART_AXIS_PRIMARY_Y);

	// PFC voltage chart
	lv_obj_t * c_p_v = objects.pfc_voltage_chart;
	lv_chart_set_point_count(c_p_v, 120); // last 120 samples on screen
	lv_chart_set_type(c_p_v, LV_CHART_TYPE_LINE);
	lv_chart_set_update_mode(c_p_v, LV_CHART_UPDATE_MODE_SHIFT); // scrolling chart
	lv_chart_set_axis_range(c_p_v, LV_CHART_AXIS_PRIMARY_Y, 0, 700*10); // volts (scaled by 10 for 1 d.p.)
	lv_obj_set_style_size(c_p_v, 0, 0, LV_PART_INDICATOR); // remove chart dot for pure line chart
	lv_chart_set_div_line_count(c_p_v, 6+2, 3+2); // Chart grid setting
	s_p_v = lv_chart_add_series(c_p_v, lv_palette_main(LV_PALETTE_BLUE), LV_CHART_AXIS_PRIMARY_Y);

	// Temperature 1 chart
	lv_obj_t * c_t_1 = objects.temperature_chart_1;
	lv_chart_set_point_count(c_t_1, 120); // last 120 samples on screen
	lv_chart_set_type(c_t_1, LV_CHART_TYPE_LINE);
	lv_chart_set_update_mode(c_t_1, LV_CHART_UPDATE_MODE_SHIFT); // scrolling chart
	lv_chart_set_axis_range(c_t_1, LV_CHART_AXIS_PRIMARY_Y, 0, 100*10); // degrees celsius (scaled by 10 for 1 d.p.)
	lv_obj_set_style_size(c_t_1, 0, 0, LV_PART_INDICATOR); // remove chart dot for pure line chart
	lv_chart_set_div_line_count(c_t_1, 4+2, 3+2); // Chart grid setting
	s_t_1 = lv_chart_add_series(c_t_1, lv_palette_main(LV_PALETTE_BROWN), LV_CHART_AXIS_PRIMARY_Y);

	// Temperature 2 chart
	lv_obj_t * c_t_2 = objects.temperature_chart_2;
	lv_chart_set_point_count(c_t_2, 120); // last 120 samples on screen
	lv_chart_set_type(c_t_2, LV_CHART_TYPE_LINE);
	lv_chart_set_update_mode(c_t_2, LV_CHART_UPDATE_MODE_SHIFT); // scrolling chart
	lv_chart_set_axis_range(c_t_2, LV_CHART_AXIS_PRIMARY_Y, 0, 100*10); // degrees celsius (scaled by 10 for 1 d.p.)
	lv_obj_set_style_size(c_t_2, 0, 0, LV_PART_INDICATOR); // remove chart dot for pure line chart
	lv_chart_set_div_line_count(c_t_2, 4+2, 3+2); // Chart grid setting
	s_t_2 = lv_chart_add_series(c_t_2, lv_palette_main(LV_PALETTE_BROWN), LV_CHART_AXIS_PRIMARY_Y);

	// Temperature 3 chart
	lv_obj_t * c_t_3 = objects.temperature_chart_3;
	lv_chart_set_point_count(c_t_3, 120); // last 120 samples on screen
	lv_chart_set_type(c_t_3, LV_CHART_TYPE_LINE);
	lv_chart_set_update_mode(c_t_3, LV_CHART_UPDATE_MODE_SHIFT); // scrolling chart
	lv_chart_set_axis_range(c_t_3, LV_CHART_AXIS_PRIMARY_Y, 0, 100*10); // degrees celsius (scaled by 10 for 1 d.p.)
	lv_obj_set_style_size(c_t_3, 0, 0, LV_PART_INDICATOR); // remove chart dot for pure line chart
	lv_chart_set_div_line_count(c_t_3, 4+2, 3+2); // Chart grid setting
	s_t_3 = lv_chart_add_series(c_t_3, lv_palette_main(LV_PALETTE_BROWN), LV_CHART_AXIS_PRIMARY_Y);
}

static void charts_feed_cb(lv_timer_t * t)
{
	(void)t;

    float o_v = OutputVoltage;
    float o_i = OutputCurrent;
    float o_p = OutputPower / 1000.0f; // for displaying kW on chart. OutputPower is provided in W.
    float b_v = BatteryVoltage;
    float p_v = PFCVoltage;
    float temperature[3];
    temperature[0] = temp[0];
    temperature[1] = temp[1];
    temperature[2] = temp[2];

    // Clamp to chart ranges
    if(o_v < 0) o_v = 0;
    if(o_v > 600) o_v = 600;

    if(o_i < 0) o_i = 0;
    if(o_i > 10) o_i = 10;

    if(o_p < 0) o_p = 0;
	if(o_p > 4) o_p = 4;

	if(b_v < 0) b_v = 0;
	if(b_v > 600) b_v = 600;

	if(p_v < 0) p_v = 0;
	if(p_v > 600) p_v = 600;

    for(int k = 0; k < 3; k++) {
        if(temperature[k] < 0) temperature[k] = 0;
        if(temperature[k] > 100) temperature[k] = 100;
    }

    // Set chart series
	lv_chart_set_next_value(objects.output_voltage_chart, s_o_v, (int32_t)(o_v * 10.0f + 0.5f));
	lv_chart_set_next_value(objects.output_current_chart, s_o_i, (int32_t)(o_i * 1000.0f + 0.5f));
	lv_chart_set_next_value(objects.output_power_chart,   s_o_p, (int32_t)(o_p * 1000.0f + 0.5f));

	lv_chart_set_next_value(objects.battery_voltage_chart, s_b_v, (int32_t)(b_v * 10.0f + 0.5f));
	lv_chart_set_next_value(objects.pfc_voltage_chart,     s_p_v, (int32_t)(p_v * 10.0f + 0.5f));

	lv_chart_set_next_value(objects.temperature_chart_1, s_t_1, (int32_t)(temperature[0] * 10.0f + 0.5f));
	lv_chart_set_next_value(objects.temperature_chart_2, s_t_2, (int32_t)(temperature[1] * 10.0f + 0.5f));
	lv_chart_set_next_value(objects.temperature_chart_3, s_t_3, (int32_t)(temperature[2] * 10.0f + 0.5f));

	// Set chart labels
	lv_label_set_text(objects.output_voltage_label, get_var_voltage_text(o_v));
	lv_label_set_text(objects.output_current_label, get_var_current_text(o_i));
	lv_label_set_text(objects.output_power_label,   get_var_power_text(o_p));

	lv_label_set_text(objects.battery_voltage_label, get_var_voltage_text(b_v));
	lv_label_set_text(objects.pfc_voltage_label,     get_var_voltage_text(p_v));

	lv_label_set_text(objects.temperature_label_1, get_var_temperature_text(temperature[0]));
	lv_label_set_text(objects.temperature_label_2, get_var_temperature_text(temperature[1]));
	lv_label_set_text(objects.temperature_label_3, get_var_temperature_text(temperature[2]));
}

void start_charts(void)
{
    charts_init();
    if(charts_timer == NULL) {
        charts_timer = lv_timer_create(charts_feed_cb, 500, NULL); // 500 ms timer for updating charts
    }
}

// === Button detection and debounce ===

void HAL_GPIO_EXTI_Callback(uint16_t GPIO_Pin)
{
    if (GPIO_Pin == GPIO_PIN_3)
    {
        uint32_t now = HAL_GetTick();

        if ((now - lastButtonInterrupt) > BUTTON_DEBOUNCE_PERIOD)
        {
            lastButtonInterrupt = now;
            buttonPressed = 1;
        }
    }

}

// === Status/ fault update to HV ===

static void LV_status_share(lv_timer_t * t)
{
    (void)t;

    if (BMS_error_code == 0x0000)
    {
        printfDma("\\F 0\n");
    }
    else
    {
        printfDma("\\F %u\n", BMS_error_code);
    }
}

/* USER CODE END 4 */

void Error_Handler(void)
{
  __disable_irq();
  while (1)
  {
  }
}
